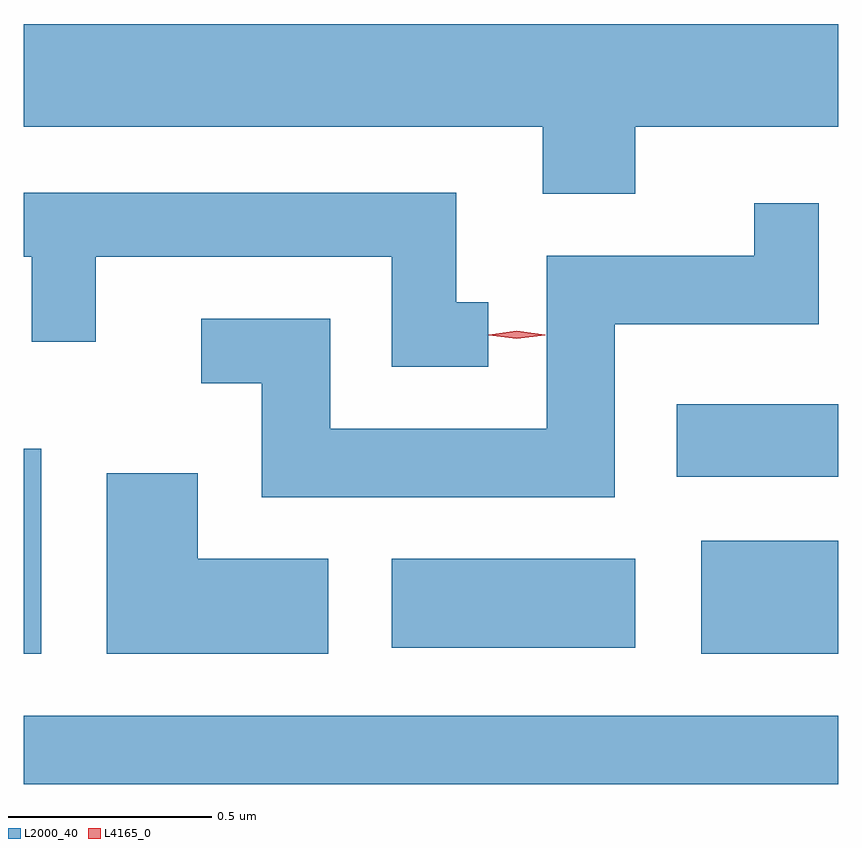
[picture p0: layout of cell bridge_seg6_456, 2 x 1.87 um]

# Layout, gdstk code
import gdstk
lib = gdstk.Library(unit=1e-6, precision=1e-09)
def R(c, l, rs):  # rectangles x0, y0, x1, y1
    for r in rs: c.add(gdstk.rectangle(r[:2], r[2:], *l))
def P(c, l, *ps):  # polygons
    for p in ps: c.add(gdstk.Polygon(p, *l))
L2000_40 = (2000, 40)
L4165_0 = (4165, 0)

bridge_seg6_456 = lib.new_cell('bridge_seg6_456')
R(bridge_seg6_456, L2000_40, [(824.907,1663.861,826.907,1664.029), (824.907,1664.181,824.949,1664.684), (826.571,1664.181,826.907,1664.459), (825.811,1664.196,826.409,1664.414), (826.511,1664.616,826.907,1664.794)])
P(bridge_seg6_456, L2000_40, [(826.409,1665.476),(826.907,1665.476),(826.907,1665.728),(824.907,1665.728),(824.907,1665.476),(826.181,1665.476),(826.181,1665.311),(826.409,1665.311)],
  [(826.048,1665.044),(825.969,1665.044),(825.969,1665.314),(824.907,1665.314),(824.907,1665.156),(824.926,1665.156),(824.926,1664.948),(825.084,1664.948),(825.084,1665.156),(825.811,1665.156),(825.811,1664.886),(826.048,1664.886)],
  [(826.359,1664.991),(826.859,1664.991),(826.859,1665.288),(826.701,1665.288),(826.701,1665.159),(826.191,1665.159),(826.191,1664.734),(825.659,1664.734),(825.659,1665.004),(825.343,1665.004),(825.343,1664.846),(825.491,1664.846),(825.491,1664.566),(826.359,1664.566)],
  [(825.654,1664.414),(825.334,1664.414),(825.334,1664.624),(825.111,1664.624),(825.111,1664.181),(825.654,1664.181)])
P(bridge_seg6_456, L4165_0, [(826.118,1664.955),(826.049,1664.964),(826.049,1664.965),(826.049,1664.965),(826.118,1664.975),(826.188,1664.965),(826.188,1664.964),(826.188,1664.964)])

lib.write_gds('bridge_seg6_456.gds')
